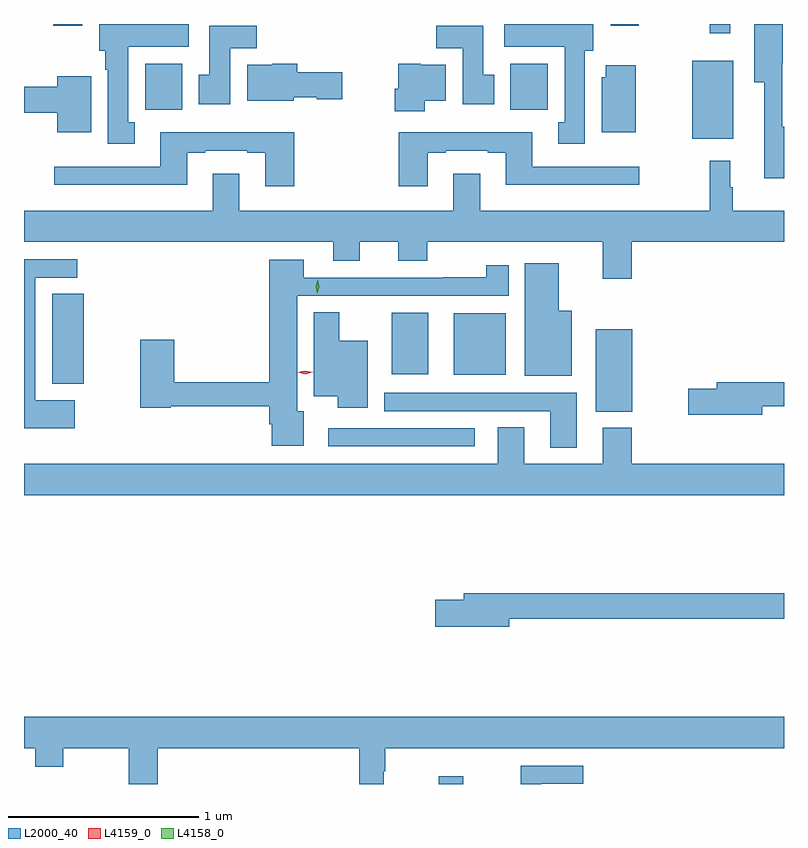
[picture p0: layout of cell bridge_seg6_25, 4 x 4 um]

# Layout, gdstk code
import gdstk
lib = gdstk.Library(unit=1e-6, precision=1e-09)
def R(c, l, rs):  # rectangles x0, y0, x1, y1
    for r in rs: c.add(gdstk.rectangle(r[:2], r[2:], *l))
def P(c, l, *ps):  # polygons
    for p in ps: c.add(gdstk.Polygon(p, *l))
L2000_40 = (2000, 40)
L4158_0 = (4158, 0)
L4159_0 = (4159, 0)

bridge_seg6_25 = lib.new_cell('bridge_seg6_25')
R(bridge_seg6_25, L2000_40, [(960.781,964.463,960.91,964.504), (960.198,966.24,960.97,966.336), (961.607,966.422,961.798,966.856), (958.745,966.569,958.912,967.043), (960.86,966.617,961.132,966.94), (960.533,966.62,960.724,966.943), (962.114,967.859,962.329,968.269), (959.234,968.012,959.431,968.254), (961.157,968.012,961.354,968.254), (962.205,968.415,962.313,968.463), (958.751,968.454,958.903,968.463), (961.685,968.454,961.833,968.463)])
P(bridge_seg6_25, L2000_40, [(959.179,967.946),(959.146,967.946),(959.146,968.342),(959.464,968.342),(959.464,968.463),(958.994,968.463),(958.994,968.322),(959.024,968.322),(959.024,968.222),(959.039,968.222),(959.039,967.833),(959.179,967.833)],
  [(961.549,968.322),(961.594,968.322),(961.594,968.463),(961.125,968.463),(961.125,968.342),(961.442,968.342),(961.442,967.946),(961.409,967.946),(961.409,967.833),(961.549,967.833)],
  [(962.597,967.921),(962.589,967.921),(962.589,968.26),(962.59,968.26),(962.59,968.463),(962.441,968.463),(962.441,968.156),(962.492,968.156),(962.492,967.652),(962.597,967.652)],
  [(961.072,968.196),(961.015,968.196),(961.015,968.455),(960.766,968.455),(960.766,968.336),(960.905,968.336),(960.905,968.04),(961.072,968.04)],
  [(959.683,968.336),(959.822,968.336),(959.822,968.455),(959.573,968.455),(959.573,968.196),(959.516,968.196),(959.516,968.04),(959.683,968.04)],
  [(960.018,968.078),(960.138,968.078),(960.138,968.066),(960.271,968.066),(960.271,968.208),(960.035,968.208),(960.035,968.254),(959.904,968.254),(959.904,968.248),(959.771,968.248),(959.771,968.06),(960.018,968.06)],
  [(960.706,968.06),(960.817,968.06),(960.817,968.248),(960.684,968.248),(960.684,968.254),(960.566,968.254),(960.566,968.121),(960.548,968.121),(960.548,968.003),(960.706,968.003)],
  [(961.816,968.245),(961.658,968.245),(961.658,968.184),(961.637,968.184),(961.637,967.892),(961.816,967.892)],
  [(958.951,968.188),(958.772,968.188),(958.772,968.132),(958.597,968.132),(958.597,967.996),(958.772,967.996),(958.772,967.892),(958.951,967.892)],
  [(960.02,967.894),(959.315,967.894),(959.315,967.713),(958.755,967.713),(958.755,967.616),(959.455,967.616),(959.455,967.785),(959.551,967.785),(959.551,967.797),(959.771,967.797),(959.771,967.785),(959.867,967.785),(959.867,967.608),(960.02,967.608)],
  [(960.721,967.785),(960.817,967.785),(960.817,967.797),(961.037,967.797),(961.037,967.785),(961.133,967.785),(961.133,967.616),(961.834,967.616),(961.834,967.713),(961.273,967.713),(961.273,967.894),(960.569,967.894),(960.569,967.608),(960.721,967.608)],
  [(961.796,967.316),(962.597,967.316),(962.597,967.48),(962.326,967.48),(962.326,967.604),(962.314,967.604),(962.314,967.744),(962.205,967.744),(962.205,967.48),(960.997,967.48),(960.997,967.675),(960.857,967.675),(960.857,967.48),(959.731,967.48),(959.731,967.675),(959.591,967.675),(959.591,967.48),(958.597,967.48),(958.597,967.316),(960.224,967.316),(960.224,967.217),(960.364,967.217),(960.364,967.316),(960.566,967.316),(960.566,967.217),(960.719,967.217),(960.719,967.316),(961.643,967.316),(961.643,967.122),(961.796,967.122)],
  [(958.864,966.484),(958.656,966.484),(958.656,967.128),(958.876,967.128),(958.876,967.224),(958.597,967.224),(958.597,966.335),(958.864,966.335)],
  [(960.07,966.424),(960.034,966.424),(960.034,967.032),(961.147,967.032),(961.147,967.192),(961.03,967.192),(961.03,967.13),(960.802,967.13),(960.802,967.128),(960.07,967.128),(960.07,967.222),(959.888,967.222),(959.888,966.578),(959.387,966.578),(959.387,966.802),(959.209,966.802),(959.209,966.442),(959.37,966.442),(959.37,966.45),(959.888,966.45),(959.888,966.356),(959.9,966.356),(959.9,966.242),(960.07,966.242)],
  [(961.48,966.955),(961.411,966.955),(961.411,967.204),(961.232,967.204),(961.232,966.611),(961.48,966.611)],
  [(960.406,966.796),(960.256,966.796),(960.256,966.947),(960.122,966.947),(960.122,966.503),(960.248,966.503),(960.248,966.444),(960.406,966.444)],
  [(962.482,966.45),(962.597,966.45),(962.597,966.578),(962.243,966.578),(962.243,966.542),(962.094,966.542),(962.094,966.407),(962.482,966.407)],
  [(961.507,966.522),(960.492,966.522),(960.492,966.426),(961.367,966.426),(961.367,966.234),(961.507,966.234)],
  [(962.597,966.148),(961.796,966.148),(961.796,966.337),(961.643,966.337),(961.643,966.148),(961.231,966.148),(961.231,966.341),(961.091,966.341),(961.091,966.148),(958.597,966.148),(958.597,965.984),(962.597,965.984)],
  [(961.15,965.332),(962.597,965.332),(962.597,965.468),(960.911,965.468),(960.911,965.432),(960.762,965.432),(960.762,965.29),(961.15,965.29)],
  [(959.3,964.652),(960.361,964.652),(960.361,964.463),(960.49,964.463),(960.49,964.529),(960.497,964.529),(960.497,964.652),(962.597,964.652),(962.597,964.816),(958.597,964.816),(958.597,964.652),(958.655,964.652),(958.655,964.553),(958.803,964.553),(958.803,964.652),(959.147,964.652),(959.147,964.463),(959.3,964.463)],
  [(961.32,964.464),(961.54,964.464),(961.54,964.56),(961.212,964.56),(961.212,964.463),(961.32,964.463)])
P(bridge_seg6_25, L4158_0, [(960.141,967.045),(960.141,967.046),(960.132,967.081),(960.142,967.117),(960.143,967.117),(960.143,967.117),(960.152,967.081),(960.141,967.046)])
P(bridge_seg6_25, L4159_0, [(960.077,966.619),(960.039,966.629),(960.039,966.629),(960.039,966.629),(960.077,966.639),(960.116,966.629),(960.116,966.629),(960.116,966.629)])

lib.write_gds('bridge_seg6_25.gds')
